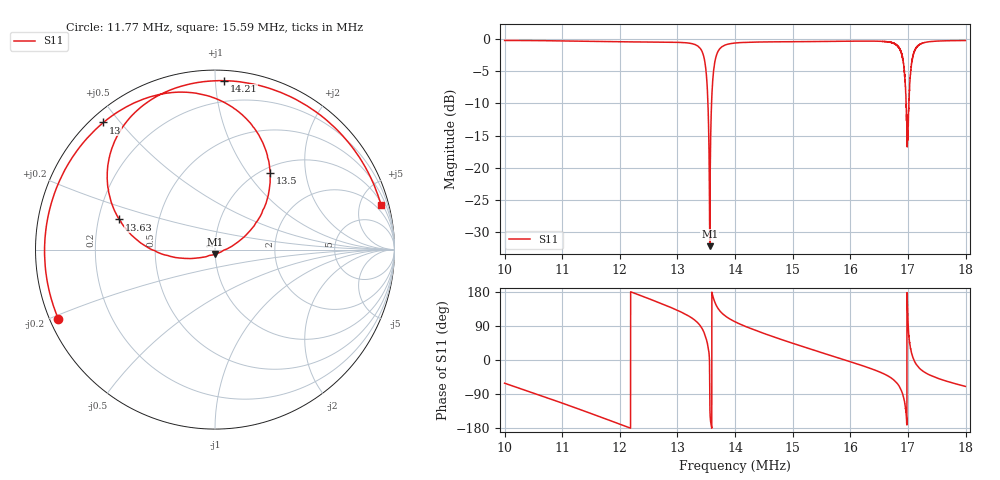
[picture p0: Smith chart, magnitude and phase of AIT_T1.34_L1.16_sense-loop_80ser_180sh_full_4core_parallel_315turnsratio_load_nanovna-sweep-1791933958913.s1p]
! NanoVNA Web complex sweep
! Processing: unaveraged complex samples; linear segment spacing; no smoothing
# Hz S RI R 50
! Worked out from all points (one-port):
!   5050 points, 10 MHz to 18 MHz, reference 50 ohm
!   lowest |S11| = -32.2 dB at 13.56 MHz (marker M1), VSWR 1.05, Z = 50.1 - j2.46 ohm
!   |S11| at or under -10 dB: 13.52908 MHz to 13.59171 MHz (62.62 kHz wide, 0.462 % of centre); 16.96838 MHz to 17.01663 MHz (48.25 kHz wide, 0.284 % of centre)
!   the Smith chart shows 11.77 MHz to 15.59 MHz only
!   S11 on the Smith chart (normalised r, x): 11.77 MHz: 0.02, -0.21; 13 MHz: 0.04, +0.45; 13.5 MHz: 1.09, +1.29; 13.63 MHz: 0.29, +0.14; 14.21 MHz: 0.06, +1.05; 15.59 MHz: 1.23, +7.39
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1e7  0.4688 -0.8537
1.100109e7  -0.3908 -0.8839
1.176616e7  -0.8728 -0.3859
1.200059e7  -0.9351 -0.1751
1.251222e7  -0.8972 0.3051
1.299693e7  -0.6215 0.7084
1.30001e7  -0.6184 0.7106
1.336758e7  -0.0861 0.8679
1.344362e7  0.1526 0.7503
1.350222e7  0.3073 0.4262
1.356083e7  0.00159 -0.0246
1.362578e7  -0.534 0.1681
1.376358e7  -0.4954 0.7093
1.39996e7  -0.175 0.914
1.42071e7  0.0509 0.9411
1.49991e7  0.6838 0.6636
1.55931e7  0.9251 0.2482
1.599861e7  0.9574 -0.0762
1.65831e7  0.7689 -0.5699
1.684605e7  0.312 -0.7928
1.690149e7  0.0436 -0.73
1.694742e7  -0.2145 -0.4418
1.699811e7  -0.0902 0.1726
1.703454e7  0.3563 0.2985
1.707731e7  0.6898 0.1308
1.715968e7  0.8474 -0.223
1.743213e7  0.6984 -0.6566
1.799762e7  0.3384 -0.9125
